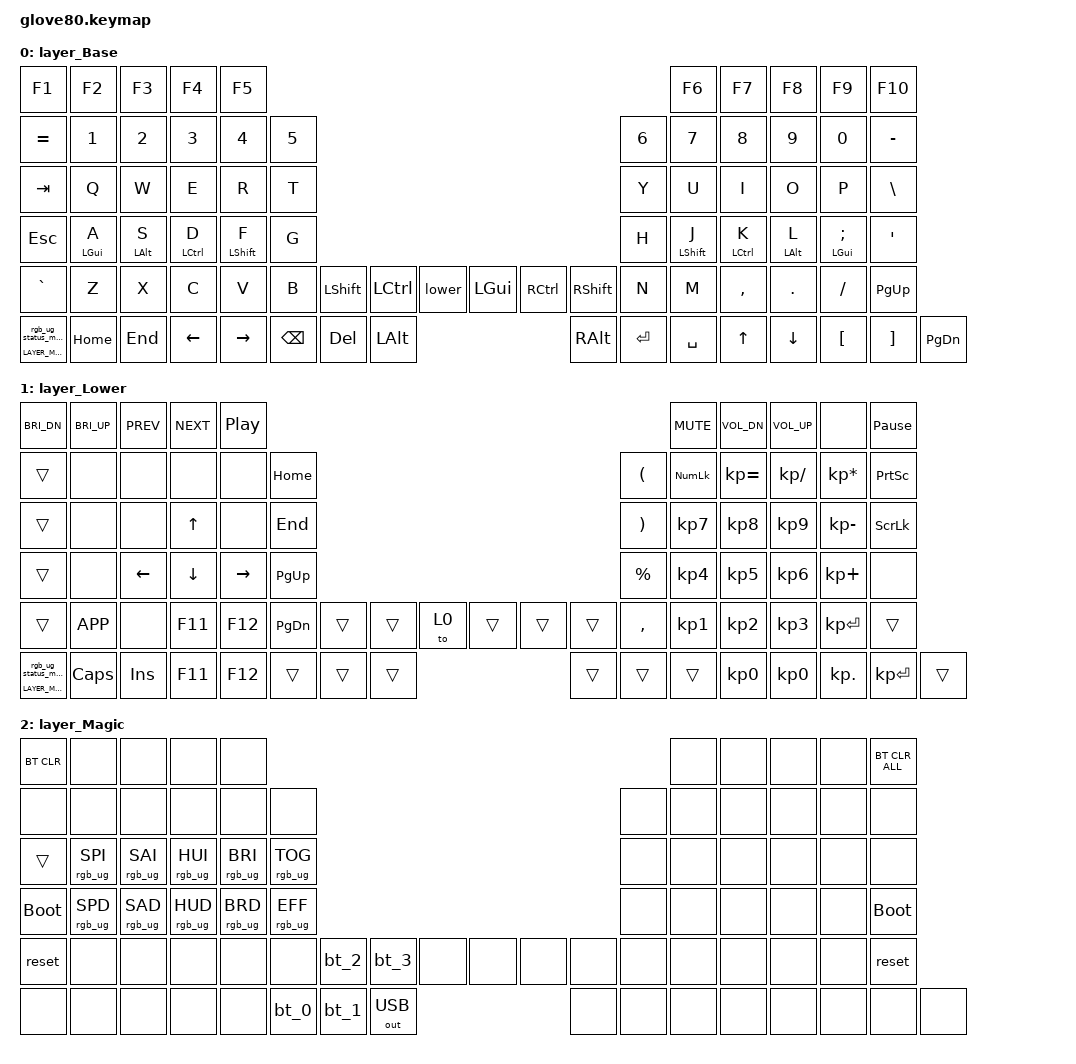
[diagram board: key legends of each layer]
/*
 * Copyright (c) 2020 The ZMK Contributors
 * Copyright (c) 2022 Innaworks Development Limited, trading as MoErgo
 *
 * SPDX-License-Identifier: MIT
 */
/* THIS FILE WAS GENERATED BY GLOVE80 LAYOUT EDITOR
 *
 * This file was generated automatically. You may or may not want to
 * edit it directly.
 */

#include <behaviors.dtsi>

/* Include all behaviour includes needed by system behaviors/macros */
/* Include behaviour includes needed by key binds - automatically generated */

#include <dt-bindings/zmk/bt.h>
#include <dt-bindings/zmk/keys.h>
#include <dt-bindings/zmk/outputs.h>
#include <dt-bindings/zmk/rgb.h>

/* Automatically generated layer name #define */
#define LAYER_Base 0
#define LAYER_Lower 1
#define LAYER_Magic 2

/* #define for key positions */
#define POS_LH_T1 52
#define POS_LH_T2 53
#define POS_LH_T3 54
#define POS_LH_T4 69
#define POS_LH_T5 70
#define POS_LH_T6 71
#define POS_LH_C1R2 15
#define POS_LH_C1R3 27
#define POS_LH_C1R4 39
#define POS_LH_C1R5 51
#define POS_LH_C2R1 4
#define POS_LH_C2R2 14
#define POS_LH_C2R3 26
#define POS_LH_C2R4 38
#define POS_LH_C2R5 50
#define POS_LH_C2R6 68
#define POS_LH_C3R1 3
#define POS_LH_C3R2 13
#define POS_LH_C3R3 25
#define POS_LH_C3R4 37
#define POS_LH_C3R5 49
#define POS_LH_C3R6 67
#define POS_LH_C4R1 2
#define POS_LH_C4R2 12
#define POS_LH_C4R3 24
#define POS_LH_C4R4 36
#define POS_LH_C4R5 48
#define POS_LH_C4R6 66
#define POS_LH_C5R1 1
#define POS_LH_C5R2 11
#define POS_LH_C5R3 23
#define POS_LH_C5R4 35
#define POS_LH_C5R5 47
#define POS_LH_C5R6 65
#define POS_LH_C6R1 0
#define POS_LH_C6R2 10
#define POS_LH_C6R3 22
#define POS_LH_C6R4 34
#define POS_LH_C6R5 46
#define POS_LH_C6R6 64
#define POS_RH_T1 57
#define POS_RH_T2 56
#define POS_RH_T3 55
#define POS_RH_T4 74
#define POS_RH_T5 73
#define POS_RH_T6 72
#define POS_RH_C1R2 16
#define POS_RH_C1R3 28
#define POS_RH_C1R4 40
#define POS_RH_C1R5 58
#define POS_RH_C2R1 5
#define POS_RH_C2R2 17
#define POS_RH_C2R3 29
#define POS_RH_C2R4 41
#define POS_RH_C2R5 59
#define POS_RH_C2R6 75
#define POS_RH_C3R1 6
#define POS_RH_C3R2 18
#define POS_RH_C3R3 30
#define POS_RH_C3R4 42
#define POS_RH_C3R5 60
#define POS_RH_C3R6 76
#define POS_RH_C4R1 7
#define POS_RH_C4R2 19
#define POS_RH_C4R3 31
#define POS_RH_C4R4 43
#define POS_RH_C4R5 61
#define POS_RH_C4R6 77
#define POS_RH_C5R1 8
#define POS_RH_C5R2 20
#define POS_RH_C5R3 32
#define POS_RH_C5R4 44
#define POS_RH_C5R5 62
#define POS_RH_C5R6 78
#define POS_RH_C6R1 9
#define POS_RH_C6R2 21
#define POS_RH_C6R3 33
#define POS_RH_C6R4 45
#define POS_RH_C6R5 63
#define POS_RH_C6R6 79

/ {
    /* Glove80 system behavior & macros */

    magic: magic {
        compatible = "zmk,behavior-hold-tap";
        label = "MAGIC_HOLD_TAP";
        #binding-cells = <2>;
        flavor = "tap-preferred";
        tapping-term-ms = <200>;
        bindings = <&mo>, <&rgb_ug_status_macro>;
    };

    behaviors {
        // For the "layer" key, it'd nice to be able to use it as either a shift or a toggle.
        // Configure it as a tap dance, so the first tap (or hold) is a &mo and the second tap is a &to

        lower: tap_dance_0 {
            compatible = "zmk,behavior-tap-dance";
            label = "LAYER_TAP_DANCE";
            #binding-cells = <0>;
            tapping-term-ms = <200>;
            bindings = <&mo LAYER_Lower>, <&to LAYER_Lower>;
        };
    };

    macros {
        rgb_ug_status_macro: rgb_ug_status_macro_0 {
            label = "RGB_UG_STATUS";
            compatible = "zmk,behavior-macro";
            #binding-cells = <0>;
            bindings = <&rgb_ug RGB_STATUS>;
        };
        bt_0: bt_profile_macro_0 {
            label = "BT_0";
            compatible = "zmk,behavior-macro";
            #binding-cells = <0>;
            bindings = <&out OUT_BLE &bt BT_SEL 0>;
        };
        bt_1: bt_profile_macro_1 {
            label = "BT_1";
            compatible = "zmk,behavior-macro";
            #binding-cells = <0>;
            bindings = <&out OUT_BLE &bt BT_SEL 1>;
        };
        bt_2: bt_profile_macro_2 {
            label = "BT_2";
            compatible = "zmk,behavior-macro";
            #binding-cells = <0>;
            bindings = <&out OUT_BLE &bt BT_SEL 2>;
        };
        bt_3: bt_profile_macro_3 {
            label = "BT_3";
            compatible = "zmk,behavior-macro";
            #binding-cells = <0>;
            bindings = <&out OUT_BLE &bt BT_SEL 3>;
        };
    };

    /* Custom Defined Behaviors */

    //////////////////////////////////////////////////////////////////////
    // NOTE: Use the `#define` settings below to customize this keymap! //
    // You can override them here instead of modifying them down there. //
    // /* EXAMPLE: */  #define EMOJI_HAIR_STYLE_PRESET 3 // curly_hair  //
    //////////////////////////////////////////////////////////////////////
    //
    // Sunaku's Keymap v29 featuring the Engrammer layout with Miryoku
    // - https://github.com/sunaku/glove80-keymaps
    //
    //////////////////////////////////////////////////////////////////////

    behaviors {

        //////////////////////////////////////////////////////////////////////////
        //
        // Miryoku layers and home row mods (ported from my QMK endgame)
        // - https://sunaku.github.io/home-row-mods.html#porting-to-zmk
        // - https://github.com/urob/zmk-config#timeless-homerow-mods
        //
        //////////////////////////////////////////////////////////////////////////

        //
        // HOMEY_HOLDING_TYPE defines the flavor of ZMK hold-tap behavior to use
        // for the pinky, ring, and middle fingers (which are assigned to Super,
        // Alt, and Ctrl respectively in the Miryoku system) on home row keys.
        //
        #ifndef HOMEY_HOLDING_TYPE
        #define HOMEY_HOLDING_TYPE "tap-preferred"
        #endif

        //
        // HOMEY_HOLDING_TIME defines how long you need to hold (milliseconds)
        // home row mod keys in order to send their modifiers to the computer
        // (i.e. "register" them) for mod-click mouse usage (e.g. Ctrl-Click).
        //
        #ifndef HOMEY_HOLDING_TIME
        #define HOMEY_HOLDING_TIME 270 // TAPPING_TERM + ALLOW_CROSSOVER_AFTER
        #endif

        //
        // HOMEY_STREAK_DECAY defines how long you need to wait (milliseconds)
        // after typing before you can use home row mods again.  It prevents
        // unintended activation of home row mods when you're actively typing.
        //
        #ifndef HOMEY_STREAK_DECAY
        #define HOMEY_STREAK_DECAY 170 // global-quick-tap-ms
        #endif

        //
        // HOMEY_REPEAT_DECAY defines how much time you have left (milliseconds)
        // after tapping a key to hold it again in order to make it auto-repeat.
        //
        #ifndef HOMEY_REPEAT_DECAY
        #define HOMEY_REPEAT_DECAY 300 // "tap then hold" for key auto-repeat
        #endif

        //
        // SHIFT_HOLDING_TYPE defines the flavor of ZMK hold-tap behavior to use
        // for index fingers (which Miryoku assigns to Shift) on home row keys.
        //
        // NOTE: The "tap-preferred" flavor of ZMK hold-tap for index finger keys
        // allows faster activation of the Shift modifier (without having to wait
        // for the modified key to be released as the "balanced" flavor requires).
        // Typing streaks and the `hold-trigger-on-release` setting are disabled
        // for the index fingers so as not to hinder their speed and dexterity.
        //
        #ifndef SHIFT_HOLDING_TYPE
        #define SHIFT_HOLDING_TYPE "tap-preferred"
        #endif

        //
        // SHIFT_HOLDING_TIME defines how long you need to hold (milliseconds)
        // index finger keys in order to send their modifiers to the computer
        // (i.e. "register" them) for mod-click mouse usage (e.g. Shift-Click).
        //
        // CAUTION: You'll need to perform inward rolls from pinky->ring->middle
        // fingers toward the index fingers when activating multiple modifiers
        // because `hold-trigger-on-release` is disabled for the index fingers.
        // Otherwise, you may be surprised that the index fingers' modifier is
        // sent immediately without the rest of your multi-mod chord when you
        // perform outward rolls from your index fingers toward your pinkies.
        //
        #ifndef SHIFT_HOLDING_TIME
        #define SHIFT_HOLDING_TIME 170
        #endif

        //
        // SHIFT_STREAK_DECAY defines how long you need to wait (milliseconds)
        // after typing before you can use home row mods again.  It prevents
        // unintended activation of home row mods when you're actively typing.
        //
        #ifndef SHIFT_STREAK_DECAY
        #define SHIFT_STREAK_DECAY 70 // global-quick-tap-ms
        #endif

        //
        // SHIFT_REPEAT_DECAY defines how much time you have left (milliseconds)
        // after tapping a key to hold it again in order to make it auto-repeat.
        //
        #ifndef SHIFT_REPEAT_DECAY
        #define SHIFT_REPEAT_DECAY 300 // "tap then hold" for key auto-repeat
        #endif

        //
        // THUMB_HOLDING_TYPE defines the flavor of ZMK hold-tap behavior to use
        // for the thumbs (which are assigned to 6 layers in the Miryoku system).
        //
        // NOTE: The "balanced" flavor of ZMK hold-tap provides instant modifier
        // activation for the symbol layer (if the tapped symbol key is released
        // while the thumb layer key is still held down) for quicker programming.
        //
        #ifndef THUMB_HOLDING_TYPE
        #define THUMB_HOLDING_TYPE "balanced"
        #endif

        //
        // THUMB_HOLDING_TIME defines how long you need to hold (milliseconds)
        // a thumb key to activate a layer.  Shorter holds are treated as taps.
        //
        #ifndef THUMB_HOLDING_TIME
        #define THUMB_HOLDING_TIME 200
        #endif

        //
        // THUMB_REPEAT_DECAY defines how much time you have left (milliseconds)
        // after tapping a key to hold it again in order to make it auto-repeat.
        //
        #ifndef THUMB_REPEAT_DECAY
        #define THUMB_REPEAT_DECAY 300 // "tap then hold" for key auto-repeat
        #endif

        //
        // SPACE_HOLDING_TIME defines how long you need to hold (milliseconds)
        // the space thumb key to activate.  Shorter holds are treated as taps.
        //
        #ifndef SPACE_HOLDING_TIME
        #define SPACE_HOLDING_TIME 170
        #endif

        //
        // SPACE_REPEAT_DECAY defines how much time you have left (milliseconds)
        // after tapping a key to hold it again in order to make it auto-repeat.
        //
        #ifndef SPACE_REPEAT_DECAY
        #define SPACE_REPEAT_DECAY 200 // "tap then hold" for key auto-repeat
        #endif

        //
        // Glove80 key positions index for positional hold-tap
        // - https://discord.com/channels/877392805654306816/937645688244826154/1066713913351221248
        // - https://media.discordapp.net/attachments/937645688244826154/1066713913133121556/image.png
        //
        // |------------------------|------------------------|
        // | LEFT_HAND_KEYS         |        RIGHT_HAND_KEYS |
        // |                        |                        |
        // |  0  1  2  3  4         |          5  6  7  8  9 |
        // | 10 11 12 13 14 15      |      16 17 18 19 20 21 |
        // | 22 23 24 25 26 27      |      28 29 30 31 32 33 |
        // | 34 35 36 37 38 39      |      40 41 42 43 44 45 |
        // | 46 47 48 49 50 51      |      58 59 60 61 62 63 |
        // | 64 65 66 67 68         |         75 76 77 78 79 |
        // |                69 52   |   57 74                |
        // |                 70 53  |  56 73                 |
        // |                  71 54 | 55 72                  |
        // |------------------------|------------------------|
        //
        #define LEFT_HAND_KEYS      \
              0  1  2  3  4         \
             10 11 12 13 14 15      \
             22 23 24 25 26 27      \
             34 35 36 37 38 39      \
             46 47 48 49 50 51      \
             64 65 66 67 68
        #define RIGHT_HAND_KEYS     \
                                               5  6  7  8  9 \
                                           16 17 18 19 20 21 \
                                           28 29 30 31 32 33 \
                                           40 41 42 43 44 45 \
                                           58 59 60 61 62 63 \
                                              75 76 77 78 79
        #define THUMB_KEYS          \
                            69 52       57 74                \
                             70 53     56 73                 \
                              71 54   55 72

        //
        // Home row mod-tap keys for all except index fingers
        //
        homey_left: miryoku_home_row_mods_left_hand {
            compatible = "zmk,behavior-hold-tap";
            label = "HOME_ROW_MODS_LEFT_HAND";
            flavor = HOMEY_HOLDING_TYPE;
            hold-trigger-key-positions = <RIGHT_HAND_KEYS THUMB_KEYS>;
            hold-trigger-on-release; // wait for other home row mods
            tapping-term-ms = <HOMEY_HOLDING_TIME>;
            quick-tap-ms = <HOMEY_REPEAT_DECAY>;
            require-prior-idle-ms = <HOMEY_STREAK_DECAY>;
            #binding-cells = <2>;
            bindings = <&kp>, <&kp>;
        };
        homey_right: miryoku_home_row_mods_right_hand {
            compatible = "zmk,behavior-hold-tap";
            label = "HOME_ROW_MODS_RIGHT_HAND";
            flavor = HOMEY_HOLDING_TYPE;
            hold-trigger-key-positions = <LEFT_HAND_KEYS THUMB_KEYS>;
            hold-trigger-on-release; // wait for other home row mods
            tapping-term-ms = <HOMEY_HOLDING_TIME>;
            quick-tap-ms = <HOMEY_REPEAT_DECAY>;
            require-prior-idle-ms = <HOMEY_STREAK_DECAY>;
            #binding-cells = <2>;
            bindings = <&kp>, <&kp>;
        };

        //
        // Special home row mod-tap keys for the index fingers
        //
        shift_left: miryoku_home_row_mods_left_shift_shift {
            compatible = "zmk,behavior-hold-tap";
            label = "HOME_ROW_MODS_LEFT_SHIFT_SHIFT";
            flavor = SHIFT_HOLDING_TYPE;
            hold-trigger-key-positions = <RIGHT_HAND_KEYS THUMB_KEYS>;
            //hold-trigger-on-release; // don't wait for other mods
            tapping-term-ms = <SHIFT_HOLDING_TIME>;
            quick-tap-ms = <SHIFT_REPEAT_DECAY>;
            require-prior-idle-ms = <SHIFT_STREAK_DECAY>;
            #binding-cells = <2>;
            bindings = <&kp>, <&kp>;
        };
        shift_right: miryoku_home_row_mods_right_shift_shift {
            compatible = "zmk,behavior-hold-tap";
            label = "HOME_ROW_MODS_RIGHT_SHIFT_SHIFT";
            flavor = SHIFT_HOLDING_TYPE;
            hold-trigger-key-positions = <LEFT_HAND_KEYS THUMB_KEYS>;
            //hold-trigger-on-release; // don't wait for other mods
            tapping-term-ms = <SHIFT_HOLDING_TIME>;
            quick-tap-ms = <SHIFT_REPEAT_DECAY>;
            require-prior-idle-ms = <SHIFT_STREAK_DECAY>;
            #binding-cells = <2>;
            bindings = <&kp>, <&kp>;
        };

        //
        // Thumb cluster hold-tap keys for Miryoku layers
        //
        thumb: miryoku_thumb_layer {
            compatible = "zmk,behavior-hold-tap";
            label = "MIRYOKU_THUMB_LAYER";
            flavor = THUMB_HOLDING_TYPE;
            tapping-term-ms = <THUMB_HOLDING_TIME>;
            quick-tap-ms = <THUMB_REPEAT_DECAY>; // enable repeat
            //global-quick-tap; // no typing streak
            //retro-tap; // don't allow slow (hold-like) taps
            #binding-cells = <2>;
            bindings = <&mo>, <&kp>;
        };
        space: miryoku_thumb_layer_spacebar {
            compatible = "zmk,behavior-hold-tap";
            label = "MIRYOKU_THUMB_LAYER_SPACEBAR";
            flavor = THUMB_HOLDING_TYPE;
            tapping-term-ms = <SPACE_HOLDING_TIME>;
            quick-tap-ms = <SPACE_REPEAT_DECAY>; // enable repeat
            //global-quick-tap; // no typing streak
            retro-tap; // allow slow (hold-like) taps
            #binding-cells = <2>;
            bindings = <&mo>, <&kp>;
        };

        //////////////////////////////////////////////////////////////////////////
        //
        // Custom shifted pairs
        //
        //////////////////////////////////////////////////////////////////////////

        //
        // Shift + CapsWord = CapsLock
        //
        cappy: capsword_and_capslock {
            compatible = "zmk,behavior-mod-morph";
            label = "CAPSWORD_AND_CAPSLOCK";
            #binding-cells = <0>;
            bindings = <&caps_word>, <&kp CAPSLOCK>;
            mods = <(MOD_LSFT|MOD_RSFT)>;
        };

        //////////////////////////////////////////////////////////////////////////
        //
        // ZMK global overrides
        //
        //////////////////////////////////////////////////////////////////////////

        //
        // CapsWord - ported from Pascal Getreuer's extension for QMK
        // - https://zmk.dev/docs/behaviors/caps-word
        // - https://getreuer.info/posts/keyboards/caps-word/index.html
        //
        behavior_caps_word {
            continue-list = <
                UNDERSCORE MINUS
                BACKSPACE DELETE
                N1 N2 N3 N4 N5 N6 N7 N8 N9 N0
            >;
        };
    };

    /* Automatically generated keymap */

    keymap {
        compatible = "zmk,keymap";

        layer_Base {
            bindings = <
&kp F1              &kp F2              &kp F3              &kp F4               &kp F5                                                                                                    &kp F6                &kp F7                &kp F8               &kp F9         &kp F10
&kp EQUAL           &kp N1              &kp N2              &kp N3               &kp N4           &kp N5                                                                  &kp N6           &kp N7                &kp N8                &kp N9               &kp N0         &kp MINUS
&kp TAB             &kp Q               &kp W               &kp E                &kp R            &kp T                                                                   &kp Y            &kp U                 &kp I                 &kp O                &kp P          &kp BSLH
&kp ESC     &homey_left LGUI A  &homey_left LALT S  &homey_left LCTRL D  &shift_left LSHFT F      &kp G                                                                   &kp H   &shift_right LSHFT J  &homey_right LCTRL K  &homey_right LALT L  &homey_right LGUI SEMI  &kp SQT
&kp GRAVE           &kp Z               &kp X               &kp C                &kp V            &kp B   &kp LSHFT  &kp LCTRL  &lower    &kp LGUI  &kp RCTRL  &kp RSHFT  &kp N            &kp M                 &kp COMMA             &kp DOT              &kp FSLH       &kp PG_UP
&magic LAYER_Magic 0          &kp HOME            &kp END             &kp LEFT             &kp RIGHT                &kp BSPC   &kp DEL    &kp LALT  &kp RALT  &kp RET    &kp SPACE                   &kp UP                &kp DOWN              &kp LBKT             &kp RBKT       &kp PG_DN
            >;
        };

        layer_Lower {
            bindings = <
&kp C_BRI_DN  &kp C_BRI_UP  &kp C_PREV      &kp C_NEXT      &kp C_PP                                                                                           &kp C_MUTE  &kp C_VOL_DN  &kp C_VOL_UP  &none            &kp PAUSE_BREAK
&trans        &none         &none           &none           &none            &kp HOME                                                   &kp LEFT_PARENTHESIS   &kp KP_NUM  &kp KP_EQUAL  &kp KP_SLASH  &kp KP_MULTIPLY  &kp PRINTSCREEN
&trans        &none         &none           &kp UP_ARROW    &none            &kp END                                                    &kp RIGHT_PARENTHESIS  &kp KP_N7   &kp KP_N8     &kp KP_N9     &kp KP_MINUS     &kp SCROLLLOCK
&trans        &none         &kp LEFT_ARROW  &kp DOWN_ARROW  &kp RIGHT_ARROW  &kp PG_UP                                                  &kp PERCENT            &kp KP_N4   &kp KP_N5     &kp KP_N6     &kp KP_PLUS      &none
&trans        &kp K_APP     &none           &kp F11         &kp F12          &kp PG_DN  &trans  &trans  &to 0   &trans  &trans  &trans  &kp COMMA              &kp KP_N1   &kp KP_N2     &kp KP_N3     &kp KP_ENTER     &trans
&magic LAYER_Magic 0    &kp CAPS      &kp INS         &kp F11         &kp F12                     &trans  &trans  &trans  &trans  &trans  &trans                         &kp KP_N0   &kp KP_N0     &kp KP_DOT    &kp KP_ENTER     &trans
            >;
        };

        layer_Magic {
            bindings = <
&bt BT_CLR   &none            &none            &none            &none                                                                                     &none  &none  &none  &none  &bt BT_CLR_ALL
&none        &none            &none            &none            &none            &none                                                             &none  &none  &none  &none  &none  &none
&trans       &rgb_ug RGB_SPI  &rgb_ug RGB_SAI  &rgb_ug RGB_HUI  &rgb_ug RGB_BRI  &rgb_ug RGB_TOG                                                   &none  &none  &none  &none  &none  &none
&bootloader  &rgb_ug RGB_SPD  &rgb_ug RGB_SAD  &rgb_ug RGB_HUD  &rgb_ug RGB_BRD  &rgb_ug RGB_EFF                                                   &none  &none  &none  &none  &none  &bootloader
&reset       &none            &none            &none            &none            &none            &bt_2  &bt_3  &none         &none  &none  &none  &none  &none  &none  &none  &none  &reset
&none        &none            &none            &none            &none                             &bt_0  &bt_1  &out OUT_USB  &none  &none  &none         &none  &none  &none  &none  &none
            >;
        };
    };
};
